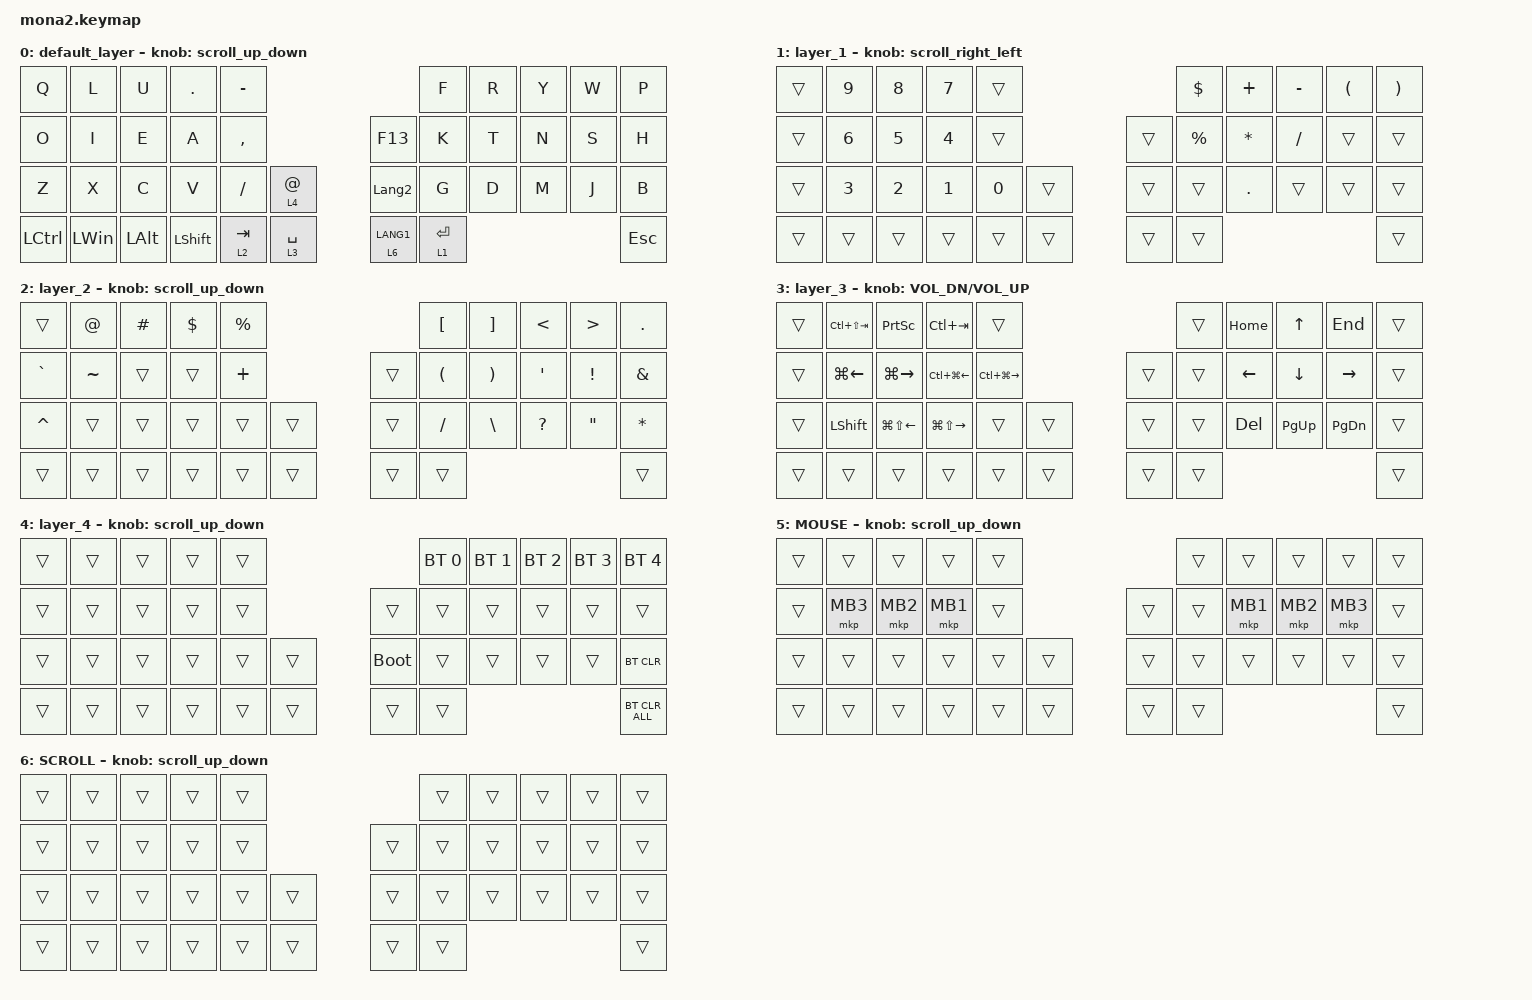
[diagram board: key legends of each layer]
#include <input/processors.dtsi>
#include <dt-bindings/zmk/input_transform.h>
#include <zephyr/dt-bindings/input/input-event-codes.h>
#include <behaviors.dtsi>
#include <dt-bindings/zmk/bt.h>
#include <dt-bindings/zmk/keys.h>
#include <dt-bindings/zmk/pointing.h>

#define ZMK_POINTING_DEFAULT_SCRL_VAL 100
#define MOUSE 5
#define SCROLL 6

&mt {
    flavor = "balanced";
    quick-tap-ms = <0>;
};

&lt {
    quick-tap-ms = <300>;
    flavor = "balanced";
};

/ {
    combos {
        compatible = "zmk,combos";

        layer4_ESC {
            bindings = <&lt 4 ESC>;
            key-positions = <39 38>;
        };

        tab {
            bindings = <&kp TAB>;
            key-positions = <11 12>;
        };
    };

    macros {
        to_layer_0: to_layer_0 {
            compatible = "zmk,behavior-macro-one-param";
            #binding-cells = <1>;
            bindings = <&to 0 &macro_param_1to1 &kp MACRO_PLACEHOLDER>;
            label = "TO_LAYER_0";
        };
    };

    behaviors {
        lt_to_layer_0: lt_to_layer_0 {
            compatible = "zmk,behavior-hold-tap";
            label = "LAYER_TAP_TO_0";
            bindings = <&mo>, <&to_layer_0>;

            #binding-cells = <2>;
            tapping-term-ms = <200>;
        };

        scroll_up_down: mouse_wheel_up_down {
            compatible = "zmk,behavior-sensor-rotate";
            #sensor-binding-cells = <0>;
            bindings = <&msc SCRL_DOWN>, <&msc SCRL_UP>;

            tap-ms = <20>;
        };

        scroll_right_left: mouse_wheel_right_left {
            compatible = "zmk,behavior-sensor-rotate";
            #sensor-binding-cells = <0>;
            bindings = <&msc SCRL_LEFT>, <&msc SCRL_RIGHT>;

            tap-ms = <20>;
        };
    };

    keymap {
        compatible = "zmk,keymap";

        default_layer {
            bindings = <
&kp Q      &kp L         &kp U         &kp PERIOD      &kp MINUS                                                    &kp F      &kp R  &kp Y  &kp W  &kp P
&kp O      &kp I         &kp E         &kp A           &kp COMMA                            &kp F13                 &kp K      &kp T  &kp N  &kp S  &kp H
&kp Z      &kp X         &kp C         &kp V           &kp SLASH  &lt 4 AT                  &kp LANGUAGE_2          &kp G      &kp D  &kp M  &kp J  &kp B
&kp LCTRL  &kp LEFT_WIN  &kp LEFT_ALT  &kp LEFT_SHIFT  &lt 2 TAB  &lt_to_layer_0 3 SPACE    &lt_to_layer_0 6 LANG1  &lt 1 RET                       &kp ESCAPE
            >;

            sensor-bindings = <&scroll_up_down>;
        };

        layer_1 {
            bindings = <
&trans  &kp NUMBER_9  &kp NUMBER_8  &kp NUMBER_7  &trans                          &kp DOLLAR   &kp PLUS      &kp MINUS  &kp LEFT_PARENTHESIS  &kp RIGHT_PARENTHESIS
&trans  &kp NUMBER_6  &kp NUMBER_5  &kp NUMBER_4  &trans                  &trans  &kp PERCENT  &kp ASTERISK  &kp SLASH  &trans                &trans
&trans  &kp NUMBER_3  &kp NUMBER_2  &kp NUMBER_1  &kp NUMBER_0  &trans    &trans  &trans       &kp PERIOD    &trans     &trans                &trans
&trans  &trans        &trans        &trans        &trans        &trans    &trans  &trans                                                      &trans
            >;

            sensor-bindings = <&scroll_right_left>;
        };

        layer_2 {
            bindings = <
&trans     &kp AT_SIGN  &kp POUND  &kp DOLLAR  &kp PERCENT                    &kp LEFT_BRACKET      &kp RIGHT_BRACKET      &kp LESS_THAN   &kp GREATER_THAN  &kp PERIOD
&kp GRAVE  &kp TILDE    &trans     &trans      &kp PLUS               &trans  &kp LEFT_PARENTHESIS  &kp RIGHT_PARENTHESIS  &kp APOSTROPHE  &kp EXCLAMATION   &kp AMPERSAND
&kp CARET  &trans       &trans     &trans      &trans       &trans    &trans  &kp SLASH             &kp BACKSLASH          &kp QUESTION    &kp DQT           &kp ASTERISK
&trans     &trans       &trans     &trans      &trans       &trans    &trans  &trans                                                                         &trans
            >;

            sensor-bindings = <&scroll_up_down>;
        };

        layer_3 {
            bindings = <
&trans  &kp LC(LS(TAB))     &kp PRINTSCREEN         &kp LC(TAB)              &trans                                     &trans  &kp HOME        &kp UP_ARROW    &kp END          &trans
&trans  &kp LG(LEFT_ARROW)  &kp LG(RIGHT_ARROW)     &kp LC(LG(LEFT_ARROW))   &kp LC(LG(RIGHT_ARROW))            &trans  &trans  &kp LEFT_ARROW  &kp DOWN_ARROW  &kp RIGHT_ARROW  &trans
&trans  &kp LEFT_SHIFT      &kp LG(LS(LEFT_ARROW))  &kp LG(LS(RIGHT_ARROW))  &trans                   &trans    &trans  &trans  &kp DELETE      &kp PAGE_UP     &kp PAGE_DOWN    &trans
&trans  &trans              &trans                  &trans                   &trans                   &trans    &trans  &trans                                                   &trans
            >;

            sensor-bindings = <&inc_dec_kp C_VOL_DN C_VOL_UP>;
        };

        layer_4 {
            bindings = <
&trans  &trans  &trans  &trans  &trans                         &bt BT_SEL 0  &bt BT_SEL 1  &bt BT_SEL 2  &bt BT_SEL 3  &bt BT_SEL 4
&trans  &trans  &trans  &trans  &trans            &trans       &trans        &trans        &trans        &trans        &trans
&trans  &trans  &trans  &trans  &trans  &trans    &bootloader  &trans        &trans        &trans        &trans        &bt BT_CLR
&trans  &trans  &trans  &trans  &trans  &trans    &trans       &trans                                                  &bt BT_CLR_ALL
            >;

            sensor-bindings = <&scroll_up_down>;
        };

        MOUSE {
            bindings = <
&trans  &trans    &trans    &trans    &trans                    &trans  &trans    &trans    &trans    &trans
&trans  &mkp MB3  &mkp MB2  &mkp MB1  &trans            &trans  &trans  &mkp MB1  &mkp MB2  &mkp MB3  &trans
&trans  &trans    &trans    &trans    &trans  &trans    &trans  &trans  &trans    &trans    &trans    &trans
&trans  &trans    &trans    &trans    &trans  &trans    &trans  &trans                                &trans
            >;

            sensor-bindings = <&scroll_up_down>;
        };

        SCROLL {
            bindings = <
&trans  &trans  &trans  &trans  &trans                    &trans  &trans  &trans  &trans  &trans
&trans  &trans  &trans  &trans  &trans            &trans  &trans  &trans  &trans  &trans  &trans
&trans  &trans  &trans  &trans  &trans  &trans    &trans  &trans  &trans  &trans  &trans  &trans
&trans  &trans  &trans  &trans  &trans  &trans    &trans  &trans                          &trans
            >;

            sensor-bindings = <&scroll_up_down>;
        };
    };
};
